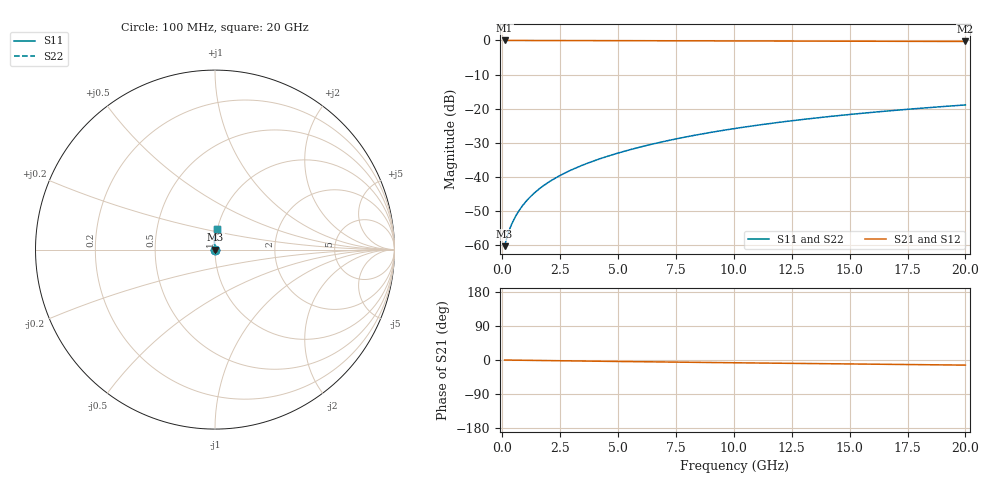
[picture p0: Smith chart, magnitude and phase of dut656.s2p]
! Touchstone file exported from HFSS 2024.1.0
!  File:  C:/UserFiles/LocalFiles/RDL_TSV_Batchsim/temp_RDL_bottom_656_1779785585.aedt
!  Generated:  04:55:16 PM May 26, 2026
!  Design:  RDL_bottom
!  Project:  temp_RDL_bottom_656_1779785585
!  Setup:  Setup1
!  Solution:  Sweep
! Variables:
!  dtsv = 10.80580581um
!  hbump = 3um
!  htsv = 96.51um
!  ldown = 197.16um
!  lrdl = 100um
!  p = 40
!  p1 = 43.67um
!  rhole = 1um
!  t = 450um
!  tdown = 4.18um
!  trdl = 3.915915916um
!  wdown = 27.19um
!  wrdl = 20um
# GHz S MA R 50.000000
! Terminal data exported
! Port[1] = RDL1_T1
! Port[2] = RDL1_T2
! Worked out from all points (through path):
!   200 points, 100 MHz to 20 GHz, reference 50 ohm
!   highest |S21| = -0.01 dB at 100 MHz (marker M1); lowest = -0.3 dB at 20 GHz (marker M2)
!   group delay of S21, straight-line fit = 1.84 ps
!   lowest |S11| = -60.2 dB at 100 MHz (marker M3), VSWR 1.00, Z = 50.1 + j0.0508 ohm
!   |S11| at or under -10 dB: start of sweep to end of sweep
!   |S22| runs from -60.2 to -18.9 dB; largest |S21 - S12| = 3.3e-15
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0.1  0.0009728 31.4  0.9992 -0.1  0.9992 -0.1  0.0009728 31.4
! Gamma 0 0 0 0
! Port Impedance 50 0 50 0
0.2  0.001313 47.0  0.9991 -0.2  0.9991 -0.2  0.001313 47.0
0.3  0.001667 55.5  0.999 -0.3  0.999 -0.3  0.001667 55.5
0.4  0.002023 61.3  0.9989 -0.3  0.9989 -0.3  0.002023 61.3
0.5  0.002385 65.6  0.9989 -0.4  0.9989 -0.4  0.002385 65.6
0.6  0.002755 69.1  0.9988 -0.5  0.9988 -0.5  0.002755 69.1
0.8  0.003515 74.1  0.9987 -0.7  0.9987 -0.7  0.003515 74.1
1  0.004297 77.6  0.9986 -0.8  0.9986 -0.8  0.004297 77.6
1.2  0.005096 80.2  0.9985 -1.0  0.9985 -1.0  0.005096 80.2
1.7  0.007146 84.5  0.998 -1.4  0.998 -1.4  0.007146 84.5
2.2  0.009263 87.2  0.9975 -1.8  0.9975 -1.8  0.009263 87.3
2.8  0.01189 89.6  0.9966 -2.2  0.9966 -2.2  0.01189 89.6
3.5  0.01509 91.5  0.9955 -2.8  0.9955 -2.8  0.01509 91.5
4.2  0.01843 92.9  0.9942 -3.3  0.9942 -3.3  0.01843 92.9
5  0.02245 94.0  0.9926 -3.9  0.9926 -3.9  0.02245 94.0
6.8  0.03216 95.1  0.9889 -5.2  0.9889 -5.2  0.03216 95.1
8.4  0.04144 95.0  0.9855 -6.2  0.9855 -6.2  0.04144 95.0
10.1  0.05173 94.2  0.9821 -7.4  0.9821 -7.4  0.05174 94.2
11.7  0.06167 93.0  0.9791 -8.4  0.9791 -8.4  0.06168 93.0
13.4  0.07235 91.6  0.9762 -9.4  0.9762 -9.4  0.07236 91.6
16.7  0.09313 88.7  0.971 -11.5  0.971 -11.5  0.09314 88.7
20  0.1137 85.7  0.9662 -13.5  0.9662 -13.5  0.1137 85.7
